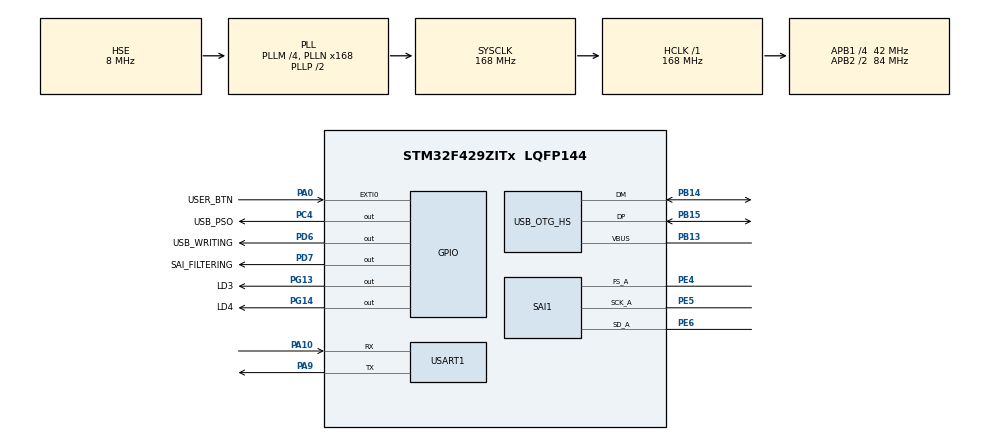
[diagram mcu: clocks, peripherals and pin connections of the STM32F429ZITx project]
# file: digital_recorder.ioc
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Dma.Request0=SAI1_A
Dma.SAI1_A.0.Direction=DMA_PERIPH_TO_MEMORY
Dma.SAI1_A.0.FIFOMode=DMA_FIFOMODE_DISABLE
Dma.SAI1_A.0.Instance=DMA2_Stream1
Dma.SAI1_A.0.MemDataAlignment=DMA_MDATAALIGN_HALFWORD
Dma.SAI1_A.0.MemInc=DMA_MINC_ENABLE
Dma.SAI1_A.0.Mode=DMA_CIRCULAR
Dma.SAI1_A.0.PeriphDataAlignment=DMA_PDATAALIGN_HALFWORD
Dma.SAI1_A.0.PeriphInc=DMA_PINC_DISABLE
Dma.SAI1_A.0.Priority=DMA_PRIORITY_LOW
FATFS._FS_EXFAT=1
FATFS._MAX_SS=4096
FATFS._USE_LFN=1
Mcu.Family=STM32F4
Mcu.Name=STM32F429ZITx
Mcu.Package=LQFP144
NVIC.DMA2_Stream1_IRQn=true\:0\:0\:false\:false\:true\:false\:true
NVIC.OTG_HS_IRQn=true\:0\:0\:false\:false\:true\:false\:true
NVIC.PriorityGroup=NVIC_PRIORITYGROUP_4
NVIC.TIM6_DAC_IRQn=true\:15\:0\:false\:false\:true\:false\:true
NVIC.TimeBase=TIM6_DAC_IRQn
NVIC.TimeBaseIP=TIM6
PA0/WKUP.GPIO_Label=USER_BTN
PA0/WKUP.GPIO_ModeDefaultEXTI=GPIO_MODE_EVT_RISING
PA0/WKUP.Signal=GPXTI0
PA10.Mode=Asynchronous
PA10.Signal=USART1_RX
PA13.Mode=Serial_Wire
PA13.Signal=SYS_JTMS-SWDIO
PA14.Mode=Serial_Wire
PA14.Signal=SYS_JTCK-SWCLK
PA9.Mode=Asynchronous
PA9.Signal=USART1_TX
PB13.Mode=Activate_VBUS_FS
PB13.Signal=USB_OTG_HS_VBUS
PB14.Mode=Host_FS
PB14.Signal=USB_OTG_HS_DM
PB15.Mode=Host_FS
PB15.Signal=USB_OTG_HS_DP
PC4.GPIO_Label=USB_PSO
PC4.Signal=GPIO_Output
PD6.GPIO_Label=USB_WRITING
PD6.Signal=GPIO_Output
PD7.GPIO_Label=SAI_FILTERING
PD7.Signal=GPIO_Output
PE4.Mode=SAI_A_Master
PE4.Signal=SAI1_FS_A
PE5.Mode=SAI_A_Master
PE5.Signal=SAI1_SCK_A
PE6.Mode=SAI_A_Master
PE6.Signal=SAI1_SD_A
PG13.GPIO_Label=LD3
PG13.Signal=GPIO_Output
PG14.GPIO_Label=LD4
PG14.Signal=GPIO_Output
PH0/OSC_IN.Mode=HSE-External-Oscillator
PH0/OSC_IN.Signal=RCC_OSC_IN
PH1/OSC_OUT.Mode=HSE-External-Oscillator
PH1/OSC_OUT.Signal=RCC_OSC_OUT
ProjectManager.HeapSize=0x200
ProjectManager.StackSize=0x400
ProjectManager.TargetToolchain=STM32CubeIDE
RCC.48MHZClocksFreq_Value=48000000
RCC.AHBFreq_Value=168000000
RCC.APB1CLKDivider=RCC_HCLK_DIV4
RCC.APB1Freq_Value=42000000
RCC.APB1TimFreq_Value=84000000
RCC.APB2CLKDivider=RCC_HCLK_DIV2
RCC.APB2Freq_Value=84000000
RCC.APB2TimFreq_Value=168000000
RCC.CortexFreq_Value=168000000
RCC.HCLKFreq_Value=168000000
RCC.HSE_VALUE=8000000
RCC.HSI_VALUE=16000000
RCC.LSE_VALUE=32768
RCC.PLLI2SDivQ=32
RCC.PLLI2SN=216
RCC.PLLM=4
RCC.PLLN=168
RCC.PLLQ=7
RCC.PLLSAIDivQ=25
RCC.PLLSAIN=192
RCC.PLLSAIQ=5
RCC.SYSCLKFreq_VALUE=168000000
RCC.SYSCLKSource=RCC_SYSCLKSOURCE_PLLCLK
RCC.VCOOutputFreq_Value=336000000
SAI1.ActiveFrameLength-SAI_A_Master=32
SAI1.AudioMode-SAI_A_Master=SAI_MODEMASTER_RX
SAI1.ClockSource-SAI_A_Master=SAI_CLKSOURCE_PLLSAI
SAI1.ClockStrobing-SAI_A_Master=SAI_CLOCKSTROBING_RISINGEDGE
SAI1.DataSize-SAI_A_Master=SAI_DATASIZE_16
SAI1.ErrorAudioFreq-SAI_A_Master=4.31 %
SAI1.FSDefinition-SAI_A_Master=SAI_FS_CHANNEL_IDENTIFICATION
SAI1.FrameLength-SAI_A_Master=64
SAI1.Instance-SAI_A_Master=SAI$Index_Block_A
SAI1.MClockEnable-SAI_A_Master=SAI_MASTERCLOCK_DISABLE
SAI1.NoDivider-SAI_A_Master=SAI_MASTERDIVIDER_DISABLE
SAI1.RealAudioFreq-SAI_A_Master=4.40625 MHz
SAI1.SlotActive-SAI_A_Master=0x0000FFFF
SAI1.SlotNumber-SAI_A_Master=4
SAI1.Synchro_A=SAI_ASYNCHRONOUS
SAI1.VirtualMode-SAI_A_Master=VM_MASTER
SAI1.VirtualSlotActive-SAI_A_Master=SAI_SLOTACTIVE_ALL
USART1.VirtualMode=VM_ASYNC
USB_HOST.BSP.number=1
USB_HOST.USBH_HandleTypeDef-MSC_HS=hUsbHostHS
USB_HOST.VirtualModeHS=Msc
USB_HOST0.BSP.STBoard=false
USB_HOST0.BSP.api=Unknown
USB_HOST0.BSP.i2caddr=0
USB_HOST0.BSP.instance=PC4
USB_HOST0.BSP.ip=GPIO
USB_HOST0.BSP.mode=Output
USB_HOST0.BSP.name=Drive_VBUS_HS
USB_HOST0.BSP.solution=PC4
USB_OTG_HS.VirtualMode-Host_FS=Host_FS
VP_FATFS_VS_USB.Mode=USB
VP_SYS_VS_tim6.Mode=TIM6
VP_USB_HOST_VS_USB_HOST_MSC_HS.Mode=MSC_HS
board=custom

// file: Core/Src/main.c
/* USER CODE BEGIN Header */
/**
  ******************************************************************************
  * @file           : main.c
  * @brief          : Main program body
  ******************************************************************************
  * @attention
  *
  * <h2><center>&copy; Copyright (c) 2021 STMicroelectronics.
  * All rights reserved.</center></h2>
  *
  * This software component is licensed by ST under BSD 3-Clause license,
  * the "License"; You may not use this file except in compliance with the
  * License. You may obtain a copy of the License at:
  *                        opensource.org/licenses/BSD-3-Clause
  *
  ******************************************************************************
  */
/* USER CODE END Header */
#include "main.h"
#include "fatfs.h"
#include "usb_host.h"

/* USER CODE BEGIN Includes */
#include "pdm_fir.h"
#include "file_handling.h"
#include <stdlib.h>
#include <string.h>
/* USER CODE END Includes */

/* USER CODE BEGIN PTD */
// States the program can take
/**
 * @brief Enum of States the Program can Take
 * */
typedef enum {
    /** @brief Program Waiting for User Input */
    IDLE,
    /** @brief Program recording sound on USB*/
    RECORDING,
    /** @brief Program waiting for USb key to be inserted in OTG port*/
    WAITING_FOR_USB
} program_state_t;
/* USER CODE END PTD */

/* USER CODE BEGIN PD */
// CLANG WARNING SUPPRESSION
#pragma clang diagnostic push
#pragma ide diagnostic ignored "EndlessLoop"

/** @brief PCM Sampling frequency in Hz*/
#define FS 48000
/** @brief PDM -> PCM Sampling frequency factor */
#define DECIMATION_FACTOR 64

/** @brief Number of PDM Sample in A Word */
#define WORD_SIZE 16

/** @brief Duration of a real time cycle in Milliseconds **/
#define T_CYCLE_MS 100

// 1ms of PDM data @SOUND_FS*DECIMATION_FACTOR in WORD of WORD_SIZE
/** @brief PDM Processing buffer size (Contain 1ms of PDM Sample)*/
#define PDM_BUFFER_SIZE (T_CYCLE_MS * ((FS / 1000) * DECIMATION_FACTOR / WORD_SIZE))

// 1ms of PCM_DATA in word of WORD_SIZE
/** @brief PCM Processing buffer size  (Contain 1ms of PDM Sample)*/
#define PCM_BUFFER_SIZE (T_CYCLE_MS * (FS / 1000))

/** @brief Linear Gain applied on PCM Samples*/
#define LINEAR_GAIN 10

/* USER CODE END PD */

SAI_HandleTypeDef hsai_BlockA1;
DMA_HandleTypeDef hdma_sai1_a;

UART_HandleTypeDef huart1;

/* USER CODE BEGIN PV */

/** @brief Flag lowered when SAI buffer Callbacks to indicate that the SAI buffer one half of the SAI buffer is ready to be read*/
uint8_t sai_flag = 1;
/** @brief Flag indicating Witch half of the SAI is ready to be read */
uint8_t sai_half = 0;

/** @brief Variable storing the state of the USB state machine (Idle, Start, Ready, Disconnect)*/
extern ApplicationTypeDef Appli_state;

/* USER CODE END PV */

void SystemClock_Config(void);

static void MX_GPIO_Init(void);

static void MX_DMA_Init(void);

static void MX_SAI1_Init(void);

static void MX_USART1_UART_Init(void);

void MX_USB_HOST_Process(void);

/* USER CODE BEGIN 0 */

// Configuring SAI Interruption Callbacks

/**
  * @brief Rx Transfer half completed callback. SAI DMA Buffer
  * @param  hsai pointer to a SAI_HandleTypeDef structure that contains
  *               the configuration information for SAI module.
  * @retval None
  */
void HAL_SAI_RxHalfCpltCallback(SAI_HandleTypeDef *hsai) {
    sai_flag = 0;
    sai_half = 0;
}

/**
  * @brief Rx Transfer completed callback.  SAI DMA Buffer
  * @param  hsai pointer to a SAI_HandleTypeDef structure that contains
  *               the configuration information for SAI module.
  * @retval None
  */
void HAL_SAI_RxCpltCallback(SAI_HandleTypeDef *hsai) {
    sai_flag = 0;
    sai_half = 1;
}
/* USER CODE END 0 */

int main(void) {
    /* USER CODE BEGIN 1 */

    uint16_t pdm_buffer[PDM_BUFFER_SIZE * 2] = {0};
    uint16_t pcm_buffer[PCM_BUFFER_SIZE] = {0}; // initializing Buffer @ 0

    program_state_t programState = WAITING_FOR_USB;
    pdm_fir_filter_config_t pdm_filter_wav;

    /* USER CODE END 1 */

    /* MCU Configuration--------------------------------------------------------*/

    /* Reset of all peripherals, Initializes the Flash interface and the Systick. */
    HAL_Init();

    /* Configure the system clock */
    SystemClock_Config();

    /* Initialize all configured peripherals */
    MX_GPIO_Init();
    MX_DMA_Init();
    MX_SAI1_Init();
    MX_USART1_UART_Init();
    MX_FATFS_Init();
    MX_USB_HOST_Init();
    /* USER CODE BEGIN 2 */
    // Initializing FIR FILTER
    //pdm_fir_flt_init(&pdm_filter);
    pdm_fir_flt_config_init(&pdm_filter_wav, DECIMATION_FACTOR, -820, 0, LINEAR_GAIN, 16);
    // Starting Peripherals
    // Starting Microphone Capture
    HAL_SAI_Receive_DMA(&hsai_BlockA1, (uint8_t *) pdm_buffer, PDM_BUFFER_SIZE * 2);

    // GREETING in serial Port
    char *str_buff = malloc(sizeof(char) * 100);
    sprintf(str_buff, "+----------------------------------------------------------+\r\n");
    HAL_UART_Transmit(&huart1, (uint8_t *) str_buff, strlen(str_buff), HAL_MAX_DELAY);
    sprintf(str_buff, "|                                                          |\r\n");
    HAL_UART_Transmit(&huart1, (uint8_t *) str_buff, strlen(str_buff), HAL_MAX_DELAY);
    sprintf(str_buff, "|                                                          |\r\n");
    HAL_UART_Transmit(&huart1, (uint8_t *) str_buff, strlen(str_buff), HAL_MAX_DELAY);
    sprintf(str_buff, "|                    STM32 USB Recorder                    |\r\n");
    HAL_UART_Transmit(&huart1, (uint8_t *) str_buff, strlen(str_buff), HAL_MAX_DELAY);
    sprintf(str_buff, "|                                                          |\r\n");
    HAL_UART_Transmit(&huart1, (uint8_t *) str_buff, strlen(str_buff), HAL_MAX_DELAY);
    sprintf(str_buff, "|                                                          |\r\n");
    HAL_UART_Transmit(&huart1, (uint8_t *) str_buff, strlen(str_buff), HAL_MAX_DELAY);
    sprintf(str_buff, "+----------------------------------------------------------+\n\r");
    HAL_UART_Transmit(&huart1, (uint8_t *) str_buff, strlen(str_buff), HAL_MAX_DELAY);
    free(str_buff);

    /* USER CODE END 2 */

    /* Infinite loop */
    /* USER CODE BEGIN WHILE */
    uint32_t idle_counter = 0, cool_down = 0, sample_count = 0, file_number = 1;
    char file_name[100];
    while (1) {
        /* USER CODE END WHILE */
        MX_USB_HOST_Process();

        /* USER CODE BEGIN 3 */
        // State Transition related to USB
        ApplicationTypeDef local_app_state = Appli_state;
        if (local_app_state == APPLICATION_READY && programState == WAITING_FOR_USB)
            programState = IDLE;
        else if (local_app_state != APPLICATION_READY)
            programState = WAITING_FOR_USB;

        // State Machine
        switch (programState) {
            case IDLE:
                // Handling Interrupts
                if (!sai_flag) {
                    (void) pdm_fir_flt_chunk(&pdm_filter_wav,
                                             pcm_buffer,
                                             pdm_buffer + sai_half * PDM_BUFFER_SIZE,
                                             PDM_BUFFER_SIZE);
                    sai_flag = 1;

                    // Updating cool down (sai flag raised every 1ms...)
                    if (cool_down > 0) cool_down--;
                }
                // Checking State transition conditions
                if (HAL_GPIO_ReadPin(USER_BTN_GPIO_Port, USER_BTN_Pin) == GPIO_PIN_SET && cool_down == 0) {
                    //transitioning to RECORDING
                    programState = RECORDING;
                    cool_down = 500;
                    HAL_GPIO_WritePin(LD3_GPIO_Port, LD3_Pin, GPIO_PIN_SET);
                    sprintf(file_name, "REC_%08lx.wav", file_number++);
                    init_wav(file_name, FS);
                    sample_count = 0;
                }
                break;
            case RECORDING:
                // Handling Interrupts
                if (!sai_flag) {
                    HAL_GPIO_WritePin(SAI_FILTERING_GPIO_Port, SAI_FILTERING_Pin, GPIO_PIN_SET);
                    uint32_t filtered = pdm_fir_flt_chunk(&pdm_filter_wav,
                                                          pcm_buffer,
                                                          pdm_buffer + sai_half * PDM_BUFFER_SIZE,
                                                          PDM_BUFFER_SIZE);
                    sai_flag = 1;
                    HAL_GPIO_WritePin(SAI_FILTERING_GPIO_Port, SAI_FILTERING_Pin, GPIO_PIN_RESET);
                    sample_count += filtered;
                    HAL_GPIO_WritePin(USB_WRITING_GPIO_Port, USB_WRITING_Pin, GPIO_PIN_SET);
                    write_wav(pcm_buffer, filtered);
                    HAL_GPIO_WritePin(USB_WRITING_GPIO_Port, USB_WRITING_Pin, GPIO_PIN_RESET);
                    // Updating cool down (sai flag raised every 1ms...)
                    if (cool_down > 0) cool_down--;
                }
                // Checking State transition conditions
                if (HAL_GPIO_ReadPin(USER_BTN_GPIO_Port, USER_BTN_Pin) == GPIO_PIN_SET && cool_down == 0) {
                    //transitioning to RECORDING
                    HAL_GPIO_WritePin(LD3_GPIO_Port, LD3_Pin, GPIO_PIN_RESET);
                    finish_wav(file_name, sample_count);
                    programState = IDLE;
                    cool_down = 500;
                }
                break;
            case WAITING_FOR_USB:
                idle_counter = (idle_counter + 1) % 0xFFFFFF;
                break;
            default:
                Error_Handler();
                break;
        }
    }
    /* USER CODE END 3 */
}

void SystemClock_Config(void) {
    RCC_OscInitTypeDef RCC_OscInitStruct = {0};
    RCC_ClkInitTypeDef RCC_ClkInitStruct = {0};

    /** Macro to configure SAI1BlockA clock source selection
    */
    __HAL_RCC_SAI_BLOCKACLKSOURCE_CONFIG(SAI_CLKSOURCE_PLLSAI);
    /** Configure the main internal regulator output voltage
    */
    __HAL_RCC_PWR_CLK_ENABLE();
    __HAL_PWR_VOLTAGESCALING_CONFIG(PWR_REGULATOR_VOLTAGE_SCALE1);
    /** Initializes the RCC Oscillators according to the specified parameters
    * in the RCC_OscInitTypeDef structure.
    */
    RCC_OscInitStruct.OscillatorType = RCC_OSCILLATORTYPE_HSE;
    RCC_OscInitStruct.HSEState = RCC_HSE_ON;
    RCC_OscInitStruct.PLL.PLLState = RCC_PLL_ON;
    RCC_OscInitStruct.PLL.PLLSource = RCC_PLLSOURCE_HSE;
    RCC_OscInitStruct.PLL.PLLM = 4;
    RCC_OscInitStruct.PLL.PLLN = 168;
    RCC_OscInitStruct.PLL.PLLP = RCC_PLLP_DIV2;
    RCC_OscInitStruct.PLL.PLLQ = 7;
    if (HAL_RCC_OscConfig(&RCC_OscInitStruct) != HAL_OK) {
        Error_Handler();
    }
    /** Initializes the CPU, AHB and APB buses clocks
    */
    RCC_ClkInitStruct.ClockType = RCC_CLOCKTYPE_HCLK | RCC_CLOCKTYPE_SYSCLK
                                  | RCC_CLOCKTYPE_PCLK1 | RCC_CLOCKTYPE_PCLK2;
    RCC_ClkInitStruct.SYSCLKSource = RCC_SYSCLKSOURCE_PLLCLK;
    RCC_ClkInitStruct.AHBCLKDivider = RCC_SYSCLK_DIV1;
    RCC_ClkInitStruct.APB1CLKDivider = RCC_HCLK_DIV4;
    RCC_ClkInitStruct.APB2CLKDivider = RCC_HCLK_DIV2;

    if (HAL_RCC_ClockConfig(&RCC_ClkInitStruct, FLASH_LATENCY_5) != HAL_OK) {
        Error_Handler();
    }
}

static void MX_SAI1_Init(void) {

    hsai_BlockA1.Instance = SAI1_Block_A;
    hsai_BlockA1.Init.Protocol = SAI_FREE_PROTOCOL;
    hsai_BlockA1.Init.AudioMode = SAI_MODEMASTER_RX;
    hsai_BlockA1.Init.DataSize = SAI_DATASIZE_16;
    hsai_BlockA1.Init.FirstBit = SAI_FIRSTBIT_MSB;
    hsai_BlockA1.Init.ClockStrobing = SAI_CLOCKSTROBING_RISINGEDGE;
    hsai_BlockA1.Init.Synchro = SAI_ASYNCHRONOUS;
    hsai_BlockA1.Init.OutputDrive = SAI_OUTPUTDRIVE_DISABLE;
    hsai_BlockA1.Init.NoDivider = SAI_MASTERDIVIDER_DISABLE;
    hsai_BlockA1.Init.FIFOThreshold = SAI_FIFOTHRESHOLD_EMPTY;
    hsai_BlockA1.Init.ClockSource = SAI_CLKSOURCE_PLLSAI;
    hsai_BlockA1.FrameInit.FrameLength = 64;
    hsai_BlockA1.FrameInit.ActiveFrameLength = 32;
    hsai_BlockA1.FrameInit.FSDefinition = SAI_FS_CHANNEL_IDENTIFICATION;
    hsai_BlockA1.FrameInit.FSPolarity = SAI_FS_ACTIVE_LOW;
    hsai_BlockA1.FrameInit.FSOffset = SAI_FS_FIRSTBIT;
    hsai_BlockA1.SlotInit.FirstBitOffset = 0;
    hsai_BlockA1.SlotInit.SlotSize = SAI_SLOTSIZE_DATASIZE;
    hsai_BlockA1.SlotInit.SlotNumber = 4;
    hsai_BlockA1.SlotInit.SlotActive = 0x0000FFFF;
    if (HAL_SAI_Init(&hsai_BlockA1) != HAL_OK) {
        Error_Handler();
    }

}

static void MX_USART1_UART_Init(void) {

    huart1.Instance = USART1;
    huart1.Init.BaudRate = 115200;
    huart1.Init.WordLength = UART_WORDLENGTH_8B;
    huart1.Init.StopBits = UART_STOPBITS_1;
    huart1.Init.Parity = UART_PARITY_NONE;
    huart1.Init.Mode = UART_MODE_TX_RX;
    huart1.Init.HwFlowCtl = UART_HWCONTROL_NONE;
    huart1.Init.OverSampling = UART_OVERSAMPLING_16;
    if (HAL_UART_Init(&huart1) != HAL_OK) {
        Error_Handler();
    }

}

static void MX_DMA_Init(void) {

    /* DMA controller clock enable */
    __HAL_RCC_DMA2_CLK_ENABLE();

    /* DMA interrupt init */
    /* DMA2_Stream1_IRQn interrupt configuration */
    HAL_NVIC_SetPriority(DMA2_Stream1_IRQn, 0, 0);
    HAL_NVIC_EnableIRQ(DMA2_Stream1_IRQn);

}

static void MX_GPIO_Init(void) {
    GPIO_InitTypeDef GPIO_InitStruct = {0};

    /* GPIO Ports Clock Enable */
    __HAL_RCC_GPIOE_CLK_ENABLE();
    __HAL_RCC_GPIOH_CLK_ENABLE();
    __HAL_RCC_GPIOA_CLK_ENABLE();
    __HAL_RCC_GPIOC_CLK_ENABLE();
    __HAL_RCC_GPIOB_CLK_ENABLE();
    __HAL_RCC_GPIOD_CLK_ENABLE();
    __HAL_RCC_GPIOG_CLK_ENABLE();

    /*Configure GPIO pin Output Level */
    HAL_GPIO_WritePin(USB_PSO_GPIO_Port, USB_PSO_Pin, GPIO_PIN_RESET);

    /*Configure GPIO pin Output Level */
    HAL_GPIO_WritePin(GPIOD, USB_WRITING_Pin | SAI_FILTERING_Pin, GPIO_PIN_RESET);

    /*Configure GPIO pin Output Level */
    HAL_GPIO_WritePin(GPIOG, LD3_Pin | LD4_Pin, GPIO_PIN_RESET);

    /*Configure GPIO pin : USER_BTN_Pin */
    GPIO_InitStruct.Pin = USER_BTN_Pin;
    GPIO_InitStruct.Mode = GPIO_MODE_EVT_RISING;
    GPIO_InitStruct.Pull = GPIO_NOPULL;
    HAL_GPIO_Init(USER_BTN_GPIO_Port, &GPIO_InitStruct);

    /*Configure GPIO pin : USB_PSO_Pin */
    GPIO_InitStruct.Pin = USB_PSO_Pin;
    GPIO_InitStruct.Mode = GPIO_MODE_OUTPUT_PP;
    GPIO_InitStruct.Pull = GPIO_NOPULL;
    GPIO_InitStruct.Speed = GPIO_SPEED_FREQ_LOW;
    HAL_GPIO_Init(USB_PSO_GPIO_Port, &GPIO_InitStruct);

    /*Configure GPIO pins : USB_WRITING_Pin SAI_FILTERING_Pin */
    GPIO_InitStruct.Pin = USB_WRITING_Pin | SAI_FILTERING_Pin;
    GPIO_InitStruct.Mode = GPIO_MODE_OUTPUT_PP;
    GPIO_InitStruct.Pull = GPIO_NOPULL;
    GPIO_InitStruct.Speed = GPIO_SPEED_FREQ_LOW;
    HAL_GPIO_Init(GPIOD, &GPIO_InitStruct);

    /*Configure GPIO pins : LD3_Pin LD4_Pin */
    GPIO_InitStruct.Pin = LD3_Pin | LD4_Pin;
    GPIO_InitStruct.Mode = GPIO_MODE_OUTPUT_PP;
    GPIO_InitStruct.Pull = GPIO_NOPULL;
    GPIO_InitStruct.Speed = GPIO_SPEED_FREQ_LOW;
    HAL_GPIO_Init(GPIOG, &GPIO_InitStruct);

}

void HAL_TIM_PeriodElapsedCallback(TIM_HandleTypeDef *htim) {
    if (htim->Instance == TIM6) {
        HAL_IncTick();
    }
}

void Error_Handler(void) {
    /* USER CODE BEGIN Error_Handler_Debug */
    /* User can add his own implementation to report the HAL error return state */
    __disable_irq();
    HAL_GPIO_WritePin(LD4_GPIO_Port, LD4_Pin, GPIO_PIN_SET);
    while (1) {
    }
    /* USER CODE END Error_Handler_Debug */
}

/************************ (C) COPYRIGHT STMicroelectronics *****END OF FILE****/
